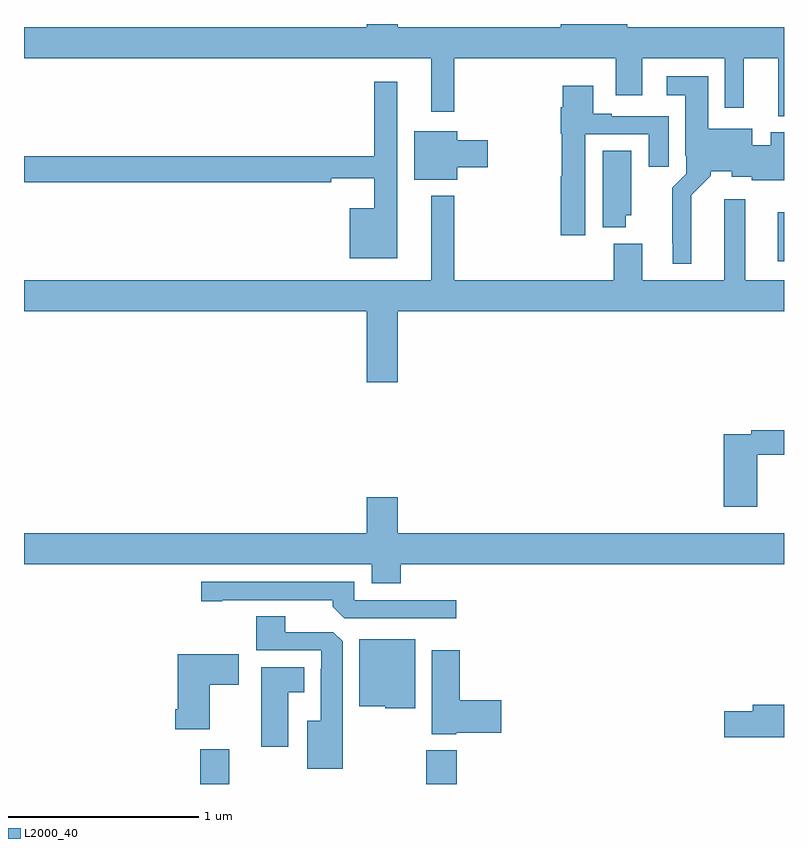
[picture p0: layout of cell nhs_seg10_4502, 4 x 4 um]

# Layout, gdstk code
import gdstk
lib = gdstk.Library(unit=1e-6, precision=1e-09)
def R(c, l, rs):  # rectangles x0, y0, x1, y1
    for r in rs: c.add(gdstk.rectangle(r[:2], r[2:], *l))
def P(c, l, *ps):  # polygons
    for p in ps: c.add(gdstk.Polygon(p, *l))
L2000_40 = (2000, 40)

nhs_seg10_4502 = lib.new_cell('nhs_seg10_4502')
R(nhs_seg10_4502, L2000_40, [(367.928,1292.5,368.08,1292.683), (369.118,1292.5,369.278,1292.677), (370.967,1295.252,371,1295.509)])
P(nhs_seg10_4502, L2000_40, [(371,1296.484),(370.174,1296.484),(370.174,1296.5),(369.824,1296.5),(369.824,1296.484),(368.968,1296.484),(368.968,1296.5),(368.804,1296.5),(368.804,1296.484),(367,1296.484),(367,1296.32),(369.143,1296.32),(369.143,1296.039),(369.265,1296.039),(369.265,1296.32),(370.115,1296.32),(370.115,1296.126),(370.255,1296.126),(370.255,1296.32),(370.689,1296.32),(370.689,1296.06),(370.787,1296.06),(370.787,1296.32),(370.97,1296.32),(370.97,1296.014),(371,1296.014)],
  [(370.513,1295.6),(370.614,1295.702),(370.614,1295.726),(370.724,1295.726),(370.724,1295.696),(370.83,1295.696),(370.83,1295.678),(371,1295.678),(371,1295.929),(370.931,1295.929),(370.931,1295.862),(370.834,1295.862),(370.834,1295.95),(370.6,1295.95),(370.6,1296.226),(370.383,1296.226),(370.383,1296.125),(370.481,1296.125),(370.481,1295.806),(370.485,1295.806),(370.485,1295.712),(370.411,1295.638),(370.411,1295.347),(370.415,1295.347),(370.415,1295.237),(370.513,1295.237)],
  [(368.965,1296.196),(368.844,1296.196),(368.844,1295.804),(367,1295.804),(367,1295.668),(368.618,1295.668),(368.618,1295.687),(368.844,1295.687),(368.844,1295.53),(368.714,1295.53),(368.714,1295.267),(368.965,1295.267)],
  [(369.955,1295.919),(370.289,1295.919),(370.289,1295.748),(370.393,1295.748),(370.393,1296.015),(370.093,1296.015),(370.093,1296.028),(369.997,1296.028),(369.997,1296.175),(369.836,1296.175),(369.836,1296.062),(369.824,1296.062),(369.824,1295.922),(369.829,1295.922),(369.829,1295.7),(369.824,1295.7),(369.824,1295.388),(369.955,1295.388)],
  [(369.28,1295.747),(369.442,1295.747),(369.442,1295.889),(369.28,1295.889),(369.28,1295.935),(369.053,1295.935),(369.053,1295.681),(369.28,1295.681)],
  [(370.168,1295.493),(370.195,1295.493),(370.195,1295.834),(370.046,1295.834),(370.046,1295.429),(370.168,1295.429)],
  [(368.968,1294.988),(371,1294.988),(371,1295.152),(370.795,1295.152),(370.795,1295.578),(370.685,1295.578),(370.685,1295.152),(370.255,1295.152),(370.255,1295.344),(370.103,1295.344),(370.103,1295.152),(369.265,1295.152),(369.265,1295.596),(369.143,1295.596),(369.143,1295.152),(367,1295.152),(367,1294.988),(368.804,1294.988),(368.804,1294.614),(368.968,1294.614)],
  [(370.86,1294.233),(371,1294.233),(371,1294.361),(370.828,1294.361),(370.828,1294.341),(370.682,1294.341),(370.682,1293.96),(370.86,1293.96)],
  [(368.984,1293.656),(371,1293.656),(371,1293.82),(368.968,1293.82),(368.968,1294.009),(368.804,1294.009),(368.804,1293.82),(367,1293.82),(367,1293.656),(368.831,1293.656),(368.831,1293.557),(368.984,1293.557)],
  [(369.274,1293.468),(368.739,1293.468),(368.739,1293.564),(367.932,1293.564),(367.932,1293.463),(368.044,1293.463),(368.044,1293.468),(368.624,1293.468),(368.624,1293.434),(368.685,1293.372),(369.274,1293.372)],
  [(368.677,1293.251),(368.628,1293.3),(368.374,1293.3),(368.374,1293.383),(368.222,1293.383),(368.222,1293.204),(368.565,1293.204),(368.565,1293.107),(368.561,1293.107),(368.561,1292.833),(368.492,1292.833),(368.492,1292.579),(368.677,1292.579)],
  [(369.058,1293.262),(368.765,1293.262),(368.765,1292.909),(368.901,1292.909),(368.901,1292.9),(369.058,1292.9)],
  [(369.276,1292.771),(369.511,1292.771),(369.511,1292.942),(369.293,1292.942),(369.293,1293.205),(369.146,1293.205),(369.146,1292.762),(369.276,1292.762)],
  [(367.978,1293.022),(368.131,1293.022),(368.131,1293.184),(367.808,1293.184),(367.808,1292.893),(367.796,1292.893),(367.796,1292.789),(367.978,1292.789)],
  [(368.392,1292.984),(368.476,1292.984),(368.476,1293.115),(368.249,1293.115),(368.249,1292.697),(368.392,1292.697)],
  [(371,1292.918),(370.835,1292.918),(370.835,1292.882),(370.686,1292.882),(370.686,1292.747),(371,1292.747)])

lib.write_gds('nhs_seg10_4502.gds')
